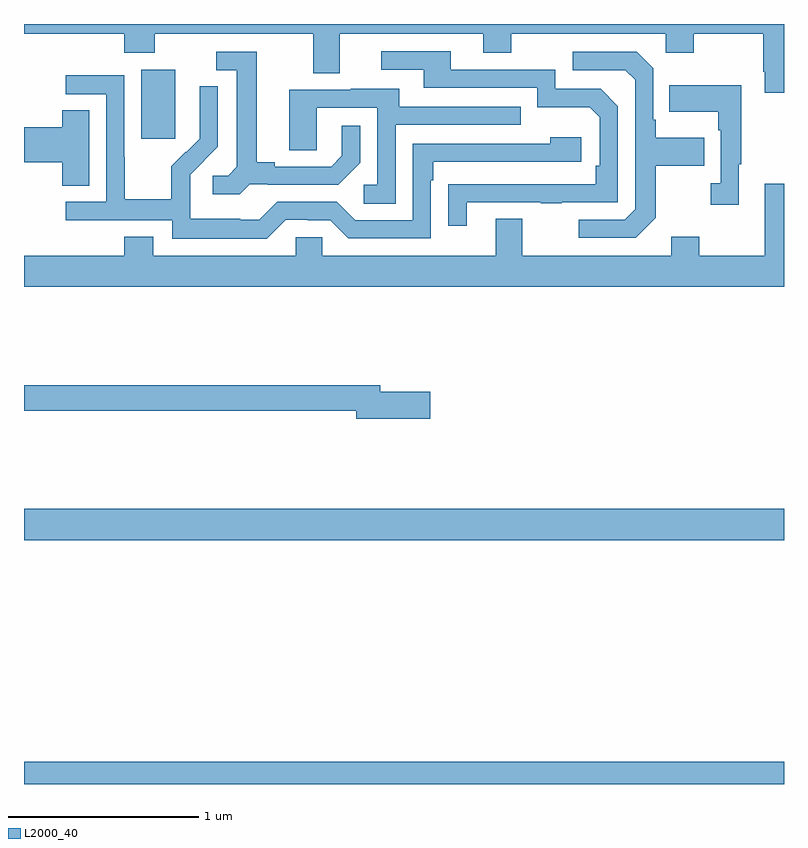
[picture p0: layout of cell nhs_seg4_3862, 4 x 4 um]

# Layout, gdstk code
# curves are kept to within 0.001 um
import gdstk
lib = gdstk.Library(unit=1e-6, precision=1e-09)
def R(c, l, rs):  # rectangles x0, y0, x1, y1
    for r in rs: c.add(gdstk.rectangle(r[:2], r[2:], *l))
def P(c, l, *ps):  # polygons
    for p in ps: c.add(gdstk.Polygon(p, *l))
L2000_40 = (2000, 40)

nhs_seg4_3862 = lib.new_cell('nhs_seg4_3862')
R(nhs_seg4_3862, L2000_40, [(315,764.9,319,765.016), (315,766.184,319,766.348), (315.617,768.297,315.796,768.658)])
P(nhs_seg4_3862, L2000_40, [(319,768.9),(315,768.9),(315,768.848),(315.527,768.848),(315.527,768.749),(315.687,768.749),(315.687,768.848),(316.523,768.848),(316.523,768.64),(316.663,768.64),(316.663,768.848),(317.417,768.848),(317.417,768.749),(317.565,768.749),(317.565,768.848),(318.378,768.848),(318.378,768.749),(318.525,768.749),(318.525,768.848),(318.892,768.848),(318.892,768.649),(318.899,768.649),(318.899,768.537),(319,768.537)],
  [(317.329,767.961),(317.719,767.961),(317.719,767.956),(317.831,767.956),(317.831,767.961),(318.126,767.961),(318.126,768.468),(318.036,768.558),(317.796,768.558),(317.796,768.66),(317.245,768.66),(317.245,768.756),(316.881,768.756),(316.881,768.66),(317.105,768.66),(317.105,768.564),(317.7,768.564),(317.7,768.461),(317.977,768.461),(318.03,768.408),(318.03,768.154),(318.01,768.154),(318.01,768.057),(317.233,768.056),(317.233,767.838),(317.329,767.838)],
  [(318.325,767.881),(318.325,768.154),(318.581,768.154),(318.581,768.301),(318.325,768.301),(318.325,768.397),(318.312,768.397),(318.312,768.666),(318.225,768.753),(317.889,768.753),(317.889,768.657),(318.165,768.657),(318.216,768.606),(318.216,767.925),(318.162,767.871),(317.919,767.871),(317.919,767.775),(318.219,767.775)],
  [(316.188,768.057),(316.282,768.057),(316.282,768.054),(316.654,768.054),(316.77,768.17),(316.77,768.364),(316.673,768.364),(316.673,768.207),(316.616,768.15),(316.321,768.15),(316.321,768.173),(316.225,768.173),(316.225,768.753),(316.011,768.753),(316.011,768.657),(316.121,768.657),(316.121,768.149),(316.074,768.102),(315.993,768.102),(315.993,768.005),(316.136,768.005)],
  [(316.377,767.871),(316.493,767.871),(316.493,767.868),(316.611,767.868),(316.707,767.772),(317.142,767.772),(317.142,768.077),(317.155,768.077),(317.155,768.174),(317.932,768.174),(317.932,768.304),(317.771,768.304),(317.771,768.27),(317.046,768.27),(317.046,767.868),(316.743,767.868),(316.647,767.964),(316.332,767.964),(316.239,767.871),(316.139,767.871),(316.139,767.875),(315.876,767.875),(315.876,768.009),(315.874,768.009),(315.874,768.106),(316.02,768.254),(316.02,768.572),(315.924,768.572),(315.924,768.418),(315.926,768.418),(315.926,768.296),(315.855,768.225),(315.852,768.228),(315.775,768.151),(315.775,767.977),(315.531,767.977),(315.531,768.2),(315.528,768.2),(315.528,768.63),(315.219,768.63),(315.219,768.531),(315.432,768.531),(315.432,767.964),(315.219,767.964),(315.219,767.868),(315.78,767.868),(315.78,767.771),(316.277,767.771)],
  [(318.763,768.161),(318.775,768.161),(318.775,768.577),(318.397,768.577),(318.397,768.437),(318.654,768.437),(318.654,768.341),(318.666,768.341),(318.666,768.062),(318.615,768.062),(318.615,767.949),(318.763,767.949)],
  [(316.956,768.369),(317.615,768.369),(317.615,768.465),(316.975,768.465),(316.975,768.559),(316.721,768.559),(316.721,768.555),(316.397,768.555),(316.397,768.235),(316.542,768.235),(316.542,768.459),(316.86,768.459),(316.86,768.054),(316.788,768.054),(316.788,767.953),(316.956,767.953)],
  [(315.343,768.446),(315.2,768.446),(315.2,768.356),(315,768.356),(315,768.173),(315.2,768.173),(315.2,768.049),(315.343,768.049)],
  [(319,768.058),(318.899,768.058),(318.899,767.68),(318.555,767.68),(318.555,767.779),(318.407,767.779),(318.407,767.68),(317.623,767.68),(317.623,767.875),(317.483,767.875),(317.483,767.68),(316.569,767.68),(316.569,767.778),(316.431,767.778),(316.431,767.68),(315.679,767.68),(315.679,767.779),(315.527,767.779),(315.527,767.68),(315,767.68),(315,767.516),(319,767.516)],
  [(317.137,766.964),(316.876,766.964),(316.876,767),(315,767),(315,766.864),(316.748,766.864),(316.748,766.822),(317.137,766.822)])

lib.write_gds('nhs_seg4_3862.gds')
